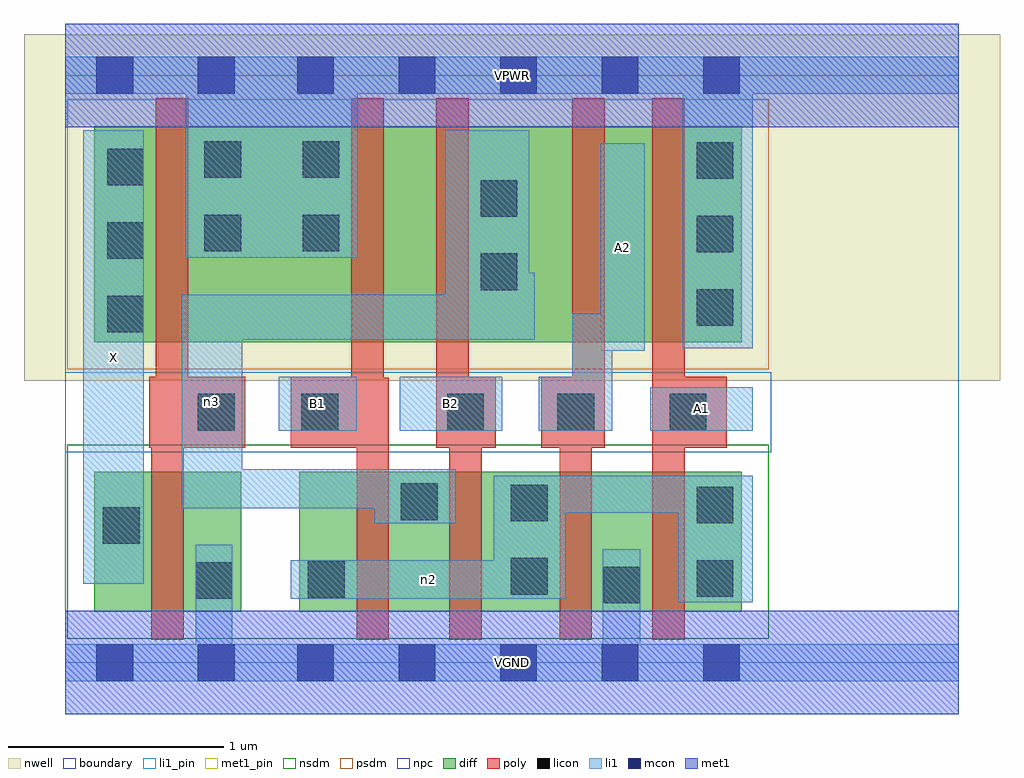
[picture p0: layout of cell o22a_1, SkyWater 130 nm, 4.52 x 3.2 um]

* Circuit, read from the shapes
.subckt o22a_1 A1 A2 B1 B2 VGND VPWR X n2 n3
XM1 VGND n3 X VSUBS sky130_fd_pr__nfet_01v8 w=0.65 l=0.15
XM2 n3 B1 n2 VSUBS sky130_fd_pr__nfet_01v8 w=0.65 l=0.15
XM3 n2 B2 n3 VSUBS sky130_fd_pr__nfet_01v8 w=0.65 l=0.15
XM4 VGND A2 n2 VSUBS sky130_fd_pr__nfet_01v8 w=0.65 l=0.15
XM5 n2 A1 VGND VSUBS sky130_fd_pr__nfet_01v8 w=0.65 l=0.15
XM6 VPWR n3 X n1 sky130_fd_pr__pfet_01v8 w=1 l=0.15
XM7 n4 B1 VPWR n1 sky130_fd_pr__pfet_01v8 w=1 l=0.15
XM8 n3 B2 n4 n1 sky130_fd_pr__pfet_01v8 w=1 l=0.15
XM9 n5 A2 n3 n1 sky130_fd_pr__pfet_01v8 w=1 l=0.15
XM10 VPWR A1 n5 n1 sky130_fd_pr__pfet_01v8 w=1 l=0.15
.ends

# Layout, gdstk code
import gdstk
lib = gdstk.Library(unit=1e-6, precision=1e-09)
def R(c, l, rs):  # rectangles x0, y0, x1, y1
    for r in rs: c.add(gdstk.rectangle(r[:2], r[2:], *l))
def A(c, l, x, y, w, h, nx, ny, dx, dy):  # array of equal rectangles
    R(c, l, [(x+i*dx, y+j*dy, x+i*dx+w, y+j*dy+h) for i in range(nx) for j in range(ny)])
nwell = (64, 20)
diff = (65, 20)
poly = (66, 20)
licon = (66, 44)
li1_pin = (67, 16)
li1 = (67, 20)
mcon = (67, 44)
met1_pin = (68, 16)
met1 = (68, 20)
nsdm = (93, 44)
psdm = (94, 20)
npc = (95, 20)
boundary = (235, 4)

o22a_1 = lib.new_cell('o22a_1')
R(o22a_1, nwell, [(-0.19,1.305,4.33,2.91), (0,1.305,4.14,2.91)])
R(o22a_1, diff, [(0.135,0.235,0.815,0.885), (1.085,0.235,3.135,0.885), (0.135,1.485,3.135,2.485)])
R(o22a_1, poly, [(0.4,0.105,0.55,1.325), (1.35,0.105,1.5,1.32), (1.78,0.105,1.93,1.325), (2.29,0.105,2.44,1.325), (2.72,0.105,2.87,2.615), (0.39,0.995,0.835,1.325), (0.42,0.995,0.57,2.615), (1.045,0.995,1.475,1.325), (1.325,0.995,1.475,2.615), (1.72,0.995,1.87,2.615), (1.72,0.995,1.995,1.325), (2.205,0.995,2.5,1.325), (2.35,0.995,2.5,2.615), (2.72,0.995,3.065,1.325)])
A(o22a_1, licon, 0.195, 1.53, 0.17, 0.17, 1, 3, 0, 0.34)
A(o22a_1, licon, 2.925, 1.56, 0.17, 0.17, 1, 3, 0, 0.34)
R(o22a_1, licon, [(2.495,0.275,2.665,0.445), (0.605,0.295,0.775,0.465), (1.125,0.3,1.295,0.47), (2.925,0.305,3.095,0.475), (2.065,0.315,2.235,0.485), (0.175,0.55,0.345,0.72), (2.925,0.645,3.095,0.815), (2.065,0.655,2.235,0.825), (1.555,0.66,1.725,0.83), (0.615,1.075,0.785,1.245), (1.095,1.075,1.265,1.245), (1.77,1.075,1.94,1.245), (2.28,1.075,2.45,1.245), (2.8,1.075,2.97,1.245), (1.925,1.725,2.095,1.895), (0.645,1.905,0.815,2.075), (1.1,1.905,1.27,2.075), (1.925,2.065,2.095,2.235), (0.645,2.245,0.815,2.415), (1.1,2.245,1.27,2.415)])
R(o22a_1, li1_pin, [(0.085,0.365,0.365,2.465), (0.99,1.075,1.35,1.325), (1.55,1.075,2.025,1.325), (2.71,1.075,3.185,1.275), (2.48,1.445,2.685,2.405)])
R(o22a_1, li1, [(0,-0.085,4.14,0.085), (0.605,-0.085,0.775,0.545), (2.49,-0.085,2.665,0.525), (2.84,0.28,3.185,0.865), (1.045,0.295,2.32,0.475), (1.985,0.295,2.32,0.865), (0.085,0.365,0.365,2.465), (1.435,0.645,1.81,0.895), (1.985,0.695,3.185,0.865), (0.54,0.715,0.82,1.705), (0.54,0.715,1.81,0.895), (0.99,1.075,1.35,1.325), (1.55,1.075,2.025,1.325), (2.195,1.075,2.535,1.325), (2.35,1.075,2.535,1.615), (2.71,1.075,3.185,1.275), (2.48,1.445,2.685,2.405), (2.86,1.455,3.185,2.805), (0.54,1.495,2.175,1.705), (1.76,1.495,2.15,2.465), (1.76,1.495,2.175,1.805), (0.56,1.875,1.355,2.805), (0,2.635,4.14,2.805)])
A(o22a_1, mcon, 1.075, -0.085, 0.17, 0.17, 5, 2, 0.47, 2.72)
R(o22a_1, mcon, [(0.145,-0.085,0.315,0.085), (0.615,-0.085,0.785,0.085), (0.145,2.635,0.315,2.805), (0.615,2.635,0.785,2.805)])
R(o22a_1, met1_pin, [(0,-0.24,4.14,0.24), (0,2.48,4.14,2.96)])
R(o22a_1, met1, [(0,-0.24,4.14,0.24), (0,2.48,4.14,2.96)])
R(o22a_1, nsdm, [(0.01,0.11,3.26,1.01)])
R(o22a_1, psdm, [(0.01,1.36,3.26,2.61)])
R(o22a_1, npc, [(0,0.975,3.27,1.345)])
R(o22a_1, boundary, [(0,0,4.14,2.72)])
o22a_1.add(gdstk.Label('A1', (2.947,1.175), layer=67, texttype=5))
o22a_1.add(gdstk.Label('A2', (2.582,1.925), layer=67, texttype=5))
o22a_1.add(gdstk.Label('B1', (1.17,1.2), layer=67, texttype=5))
o22a_1.add(gdstk.Label('B2', (1.787,1.2), layer=67, texttype=5))
o22a_1.add(gdstk.Label('X', (0.225,1.415), layer=67, texttype=5))
o22a_1.add(gdstk.Label('n2', (1.682,0.385), layer=67, texttype=5))
o22a_1.add(gdstk.Label('n3', (0.68,1.21), layer=67, texttype=5))
o22a_1.add(gdstk.Label('VPWR', (2.07,2.72), layer=68, texttype=5))
o22a_1.add(gdstk.Label('VGND', (2.07,0), layer=68, texttype=5))
o22a_1.add(gdstk.Label('A1', (2.947,1.175), layer=67, texttype=16))
o22a_1.add(gdstk.Label('A2', (2.582,1.925), layer=67, texttype=16))
o22a_1.add(gdstk.Label('B1', (1.17,1.2), layer=67, texttype=16))
o22a_1.add(gdstk.Label('B2', (1.787,1.2), layer=67, texttype=16))
o22a_1.add(gdstk.Label('X', (0.225,1.415), layer=67, texttype=16))
o22a_1.add(gdstk.Label('VPWR', (2.07,2.72), layer=68, texttype=16))
o22a_1.add(gdstk.Label('VGND', (2.07,0), layer=68, texttype=16))

lib.write_gds('o22a_1.gds')
